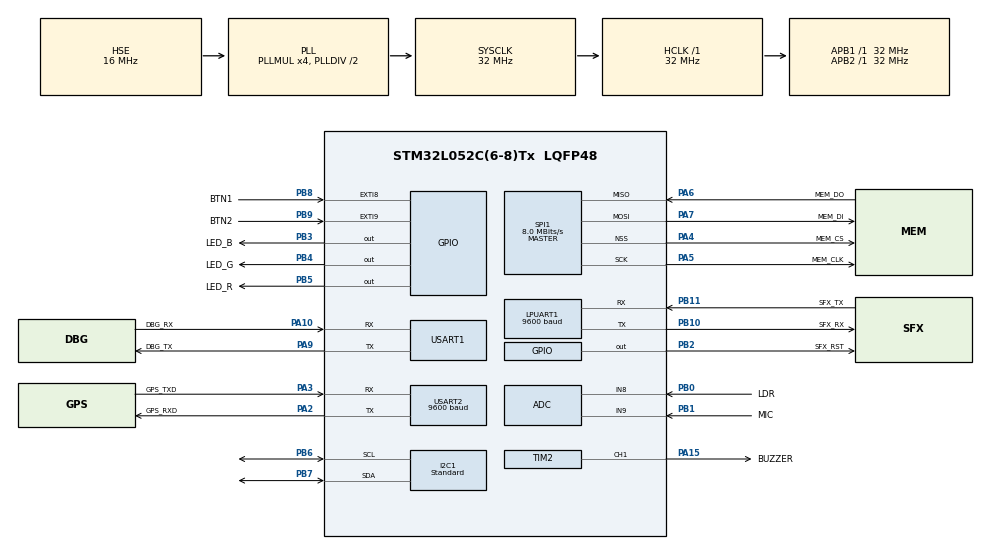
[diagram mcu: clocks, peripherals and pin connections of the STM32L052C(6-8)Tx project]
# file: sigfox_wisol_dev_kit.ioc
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ADC.ContinuousConvMode=ENABLE
ADC.DMAContinuousRequests=ENABLE
ADC.EOCSelection=ADC_EOC_SEQ_CONV
ADC.SamplingTime=ADC_SAMPLETIME_160CYCLES_5
Dma.ADC.0.Direction=DMA_PERIPH_TO_MEMORY
Dma.ADC.0.Instance=DMA1_Channel1
Dma.ADC.0.MemDataAlignment=DMA_MDATAALIGN_WORD
Dma.ADC.0.MemInc=DMA_MINC_ENABLE
Dma.ADC.0.Mode=DMA_CIRCULAR
Dma.ADC.0.PeriphDataAlignment=DMA_PDATAALIGN_HALFWORD
Dma.ADC.0.PeriphInc=DMA_PINC_DISABLE
Dma.ADC.0.Priority=DMA_PRIORITY_LOW
Dma.Request0=ADC
I2C1.I2C_Speed_Mode=I2C_Standard
I2C1.OwnAddress=108
I2C1.Timing=0x00707CBB
LPUART1.BaudRate=9600
LPUART1.WordLength=UART_WORDLENGTH_8B
Mcu.Family=STM32L0
Mcu.Name=STM32L052C(6-8)Tx
Mcu.Package=LQFP48
NVIC.ADC1_COMP_IRQn=true\:0\:0\:false\:false\:true\:true\:true
NVIC.DMA1_Channel1_IRQn=true\:0\:0\:false\:false\:true\:false\:true
NVIC.EXTI4_15_IRQn=true\:0\:0\:false\:false\:true\:true\:true
NVIC.RNG_LPUART1_IRQn=true\:0\:0\:false\:false\:true\:true\:true
NVIC.USART1_IRQn=true\:0\:0\:false\:false\:true\:true\:true
NVIC.USART2_IRQn=true\:0\:0\:false\:false\:true\:true\:true
PA10.GPIO_Label=DBG_RX
PA10.Mode=Asynchronous
PA10.Signal=USART1_RX
PA13.Mode=Serial_Wire
PA13.Signal=SYS_SWDIO
PA14.Mode=Serial_Wire
PA14.Signal=SYS_SWCLK
PA15.GPIO_Label=BUZZER
PA15.Signal=S_TIM2_CH1
PA2.GPIO_Label=GPS_RXD
PA2.Mode=Asynchronous
PA2.Signal=USART2_TX
PA3.GPIO_Label=GPS_TXD
PA3.Mode=Asynchronous
PA3.Signal=USART2_RX
PA4.GPIO_Label=MEM_CS
PA4.Mode=NSS_Signal_Hard_Output
PA4.Signal=SPI1_NSS
PA5.GPIO_Label=MEM_CLK
PA5.Mode=Full_Duplex_Master
PA5.Signal=SPI1_SCK
PA6.GPIO_Label=MEM_DO
PA6.Mode=Full_Duplex_Master
PA6.Signal=SPI1_MISO
PA7.GPIO_Label=MEM_DI
PA7.Mode=Full_Duplex_Master
PA7.Signal=SPI1_MOSI
PA9.GPIO_Label=DBG_TX
PA9.Mode=Asynchronous
PA9.Signal=USART1_TX
PB0.GPIO_Label=LDR
PB0.Mode=IN8
PB0.Signal=ADC_IN8
PB1.GPIO_Label=MIC
PB1.Mode=IN9
PB1.Signal=ADC_IN9
PB10.GPIO_Label=SFX_RX
PB10.Mode=Asynchronous
PB10.Signal=LPUART1_TX
PB11.GPIO_Label=SFX_TX
PB11.Mode=Asynchronous
PB11.Signal=LPUART1_RX
PB2.GPIO_Label=SFX_RST
PB2.GPIO_PuPd=GPIO_PULLUP
PB2.Signal=GPIO_Output
PB3.GPIO_Label=LED_B
PB3.GPIO_Speed=GPIO_SPEED_FREQ_MEDIUM
PB3.Signal=GPIO_Output
PB4.GPIO_Label=LED_G
PB4.GPIO_Speed=GPIO_SPEED_FREQ_MEDIUM
PB4.Signal=GPIO_Output
PB5.GPIO_Label=LED_R
PB5.GPIO_Speed=GPIO_SPEED_FREQ_MEDIUM
PB5.Signal=GPIO_Output
PB6.Mode=I2C
PB6.Signal=I2C1_SCL
PB7.Mode=I2C
PB7.Signal=I2C1_SDA
PB8.GPIO_Label=BTN1
PB8.GPIO_ModeDefaultEXTI=GPIO_MODE_IT_FALLING
PB8.GPIO_PuPd=GPIO_NOPULL
PB8.Signal=GPXTI8
PB9.GPIO_Label=BTN2
PB9.GPIO_ModeDefaultEXTI=GPIO_MODE_IT_FALLING
PB9.GPIO_PuPd=GPIO_NOPULL
PB9.Signal=GPXTI9
PH0-OSC_IN.Mode=HSE-External-Oscillator
PH0-OSC_IN.Signal=RCC_OSC_IN
PH1-OSC_OUT.Mode=HSE-External-Oscillator
PH1-OSC_OUT.Signal=RCC_OSC_OUT
ProjectManager.HeapSize=0x200
ProjectManager.StackSize=0x400
ProjectManager.TargetToolchain=STM32CubeIDE
RCC.AHBFreq_Value=32000000
RCC.APB1Freq_Value=32000000
RCC.APB1TimFreq_Value=32000000
RCC.APB2Freq_Value=32000000
RCC.APB2TimFreq_Value=32000000
RCC.HCLKFreq_Value=32000000
RCC.HSE_VALUE=16000000
RCC.HSI16_VALUE=16000000
RCC.HSI48_VALUE=48000000
RCC.HSI_VALUE=16000000
RCC.LSE_VALUE=32768
RCC.MSI_VALUE=2097000
RCC.PLLMUL=RCC_PLLMUL_4
RCC.PLLSourceVirtual=RCC_PLLSOURCE_HSE
RCC.SYSCLKFreq_VALUE=32000000
RCC.SYSCLKSource=RCC_SYSCLKSOURCE_PLLCLK
RCC.VCOOutputFreq_Value=64000000
SH.S_TIM2_CH1.0=TIM2_CH1,PWM Generation1 CH1
SPI1.BaudRatePrescaler=SPI_BAUDRATEPRESCALER_4
SPI1.CalculateBaudRate=8.0 MBits/s
SPI1.Direction=SPI_DIRECTION_2LINES
SPI1.Mode=SPI_MODE_MASTER
SPI1.VirtualNSS=VM_NSSHARD
SPI1.VirtualType=VM_MASTER
TIM2.AutoReloadPreload=TIM_AUTORELOAD_PRELOAD_ENABLE
TIM2.Channel-PWM\ Generation1\ CH1=TIM_CHANNEL_1
TIM2.Period=200-1
TIM2.Prescaler=320-1
TIM2.Pulse-PWM\ Generation1\ CH1=0
USART1.VirtualMode-Asynchronous=VM_ASYNC
USART2.BaudRate=9600
USART2.VirtualMode-Asynchronous=VM_ASYNC
board=custom

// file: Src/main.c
/* USER CODE BEGIN Header */
/**
 ******************************************************************************
 * @file           : main.c
 * @brief          : Main program body
 ******************************************************************************
 * @attention
 *
 * <h2><center>&copy; Copyright (c) 2019 STMicroelectronics.
 * All rights reserved.</center></h2>
 *
 * This software component is licensed by ST under BSD 3-Clause license,
 * the "License"; You may not use this file except in compliance with the
 * License. You may obtain a copy of the License at:
 *                        opensource.org/licenses/BSD-3-Clause
 *
 ******************************************************************************
 */

/*
 * main.c
 *
 * Warefab Konnect STM32L0-SIGFOX Development Board
 *
 * Created on: Nov 8, 2019
 * Author: Muchiri John
 * (c) wwww.warefab.com
 *
 * This software component is licensed by warefab under BSD 3-Clause license,
 * the "License"; You may not use this file except in compliance with the
 * License. You may obtain a copy of the License at:
 *
 * opensource.org/licenses/BSD-3-Clause
 *
 */

#include <stdio.h>
#include <stdlib.h>
#include <math.h>
/* USER CODE END Header */

#include "main.h"
#include "adc.h"
#include "dma.h"
#include "i2c.h"
#include "usart.h"
#include "spi.h"
#include "tim.h"
#include "gpio.h"

/* USER CODE BEGIN Includes */
#include "utils.h"
#include "L70R.h"
#include "sht30x.h"
#include "LIS2DH12.h"
#include "sigfox.h"
#include "buzzer.h"
/* USER CODE END Includes */

/* USER CODE BEGIN PD */
#define  mic_sample_time 50
/* USER CODE END PD */

/* USER CODE BEGIN PV */
volatile uint16_t mic_output;
volatile uint16_t ldr_output;
uint32_t gps_tick_;
uint8_t gps_flag;
int32_t sigfox_tick_;
uint8_t sigfox_flag;
uint8_t sigfox_delay;
/* USER CODE END PV */

void SystemClock_Config(void);
/* USER CODE BEGIN PFP */
uint16_t getMicValue();
void sendSigfoxPacket();
/* USER CODE END PFP */

/* USER CODE BEGIN 0 */
enum {
	adc_buf_len = 8
};
uint32_t adc_data[adc_buf_len];
char buffer[126];
uint8_t state;
/* USER CODE END 0 */

int main(void) {
	/* USER CODE BEGIN 1 */
	gps_tick_ = 0;
	gps_flag = 0;
	sigfox_tick_ = 0;
	sigfox_flag = 0;
	sigfox_delay = 0;

	mic_output = 0;
	buf_cur_pos = 0;
	/* USER CODE END 1 */

	/* MCU Configuration--------------------------------------------------------*/

	/* Reset of all peripherals, Initializes the Flash interface and the Systick. */
	HAL_Init();

	/* Configure the system clock */
	SystemClock_Config();

	/* USER CODE BEGIN SysInit */
	l70_init();
	/* USER CODE END SysInit */

	/* Initialize all configured peripherals */
	MX_GPIO_Init();
	MX_LPUART1_UART_Init();
	MX_USART1_UART_Init();
	MX_USART2_UART_Init();
	MX_TIM2_Init();
	MX_DMA_Init();
	MX_ADC_Init();
	MX_I2C1_Init();
	MX_SPI1_Init();
	/* USER CODE BEGIN 2 */
	//set buzzer frequency, 200Hz
	setBuzzerFreq(200);
	//init sht30x temp&hum sensor
	sht30x_init(0x44);
	//init lis2dh12 3-axis sensor
	Lis2dh12_init(0x19);
	//set buzzer frequency, 400Hz
	HAL_Delay(500);
	setBuzzerFreq(400);
	//reset sigfox module
	resetSigfoxModule();
	//init l70R gps module, NO NMEA output
	l70_mode(1);
	//set buzzer frequency, 600Hz
	setBuzzerFreq(600);
	//print wisol info, ID/PAC
	getSigfoxPACID();
	//set buzzer frequency, 800Hz
	setBuzzerFreq(800);
	//adc start dma conversion
	HAL_ADC_Start_DMA(&hadc, adc_data, adc_buf_len);
	HAL_Delay(500);
	//stop buzzer
	stopBuzzer();
	/* USER CODE END 2 */

	/* Infinite loop */
	/* USER CODE BEGIN WHILE */
	while (1) {
		//pulse green led
		HAL_GPIO_WritePin(LED_G_GPIO_Port, LED_G_Pin, GPIO_PIN_SET);
		HAL_Delay(200);
		HAL_GPIO_WritePin(LED_G_GPIO_Port, LED_G_Pin, GPIO_PIN_RESET);
		//send packets to sigfox cloud
		sendSigfoxPacket();
		/* USER CODE END WHILE */

	}
}

void SystemClock_Config(void) {
	RCC_OscInitTypeDef RCC_OscInitStruct = { 0 };
	RCC_ClkInitTypeDef RCC_ClkInitStruct = { 0 };
	RCC_PeriphCLKInitTypeDef PeriphClkInit = { 0 };

	/** Configure the main internal regulator output voltage
	 */
	__HAL_PWR_VOLTAGESCALING_CONFIG(PWR_REGULATOR_VOLTAGE_SCALE1);
	/** Initializes the CPU, AHB and APB busses clocks
	 */
	RCC_OscInitStruct.OscillatorType = RCC_OSCILLATORTYPE_HSE;
	RCC_OscInitStruct.HSEState = RCC_HSE_ON;
	RCC_OscInitStruct.PLL.PLLState = RCC_PLL_ON;
	RCC_OscInitStruct.PLL.PLLSource = RCC_PLLSOURCE_HSE;
	RCC_OscInitStruct.PLL.PLLMUL = RCC_PLLMUL_4;
	RCC_OscInitStruct.PLL.PLLDIV = RCC_PLLDIV_2;
	if (HAL_RCC_OscConfig(&RCC_OscInitStruct) != HAL_OK) {
		Error_Handler();
	}
	/** Initializes the CPU, AHB and APB busses clocks
	 */
	RCC_ClkInitStruct.ClockType = RCC_CLOCKTYPE_HCLK | RCC_CLOCKTYPE_SYSCLK
			| RCC_CLOCKTYPE_PCLK1 | RCC_CLOCKTYPE_PCLK2;
	RCC_ClkInitStruct.SYSCLKSource = RCC_SYSCLKSOURCE_PLLCLK;
	RCC_ClkInitStruct.AHBCLKDivider = RCC_SYSCLK_DIV1;
	RCC_ClkInitStruct.APB1CLKDivider = RCC_HCLK_DIV1;
	RCC_ClkInitStruct.APB2CLKDivider = RCC_HCLK_DIV1;

	if (HAL_RCC_ClockConfig(&RCC_ClkInitStruct, FLASH_LATENCY_1) != HAL_OK) {
		Error_Handler();
	}
	PeriphClkInit.PeriphClockSelection = RCC_PERIPHCLK_USART1
			| RCC_PERIPHCLK_USART2 | RCC_PERIPHCLK_LPUART1 | RCC_PERIPHCLK_I2C1;
	PeriphClkInit.Usart1ClockSelection = RCC_USART1CLKSOURCE_PCLK2;
	PeriphClkInit.Usart2ClockSelection = RCC_USART2CLKSOURCE_PCLK1;
	PeriphClkInit.Lpuart1ClockSelection = RCC_LPUART1CLKSOURCE_PCLK1;
	PeriphClkInit.I2c1ClockSelection = RCC_I2C1CLKSOURCE_PCLK1;
	if (HAL_RCCEx_PeriphCLKConfig(&PeriphClkInit) != HAL_OK) {
		Error_Handler();
	}
}

/* USER CODE BEGIN 4 */

uint16_t getMicValue() {
	uint16_t mic_max = 0;
	uint16_t mic_min = 4095;
	uint8_t x = 0;
	uint16_t mic_ptp;

	for (; x < 36; x++) {
		uint32_t p_time = HAL_GetTick();
		mic_ptp = 0;
		while ((HAL_GetTick() - p_time) < mic_sample_time) {
			if (mic_output < 4095) {
				if (mic_output > mic_max) {
					mic_max = mic_output;
				} else if (mic_output < mic_min) {
					mic_min = mic_output;
				}
			}
		}
		mic_ptp = mic_max - mic_min;
	}
	return mic_ptp;
}

void HAL_GPIO_EXTI_Callback(uint16_t GPIO_Pin) {
	if (GPIO_Pin == BTN1_Pin) {
		if ((HAL_GetTick() - gps_tick_) > 2000) {
			(gps_flag == 0) ? (gps_flag = 1) : (gps_flag = 0);
			HAL_GPIO_WritePin(LED_R_GPIO_Port, LED_R_Pin, gps_flag);
			//l70_standby(gps_flag);
			l70_mode(!gps_flag);
			gps_tick_ = HAL_GetTick();
		}
	} else if (GPIO_Pin == BTN2_Pin) {
		if ((HAL_GetTick() - gps_tick_) > 2000) {
			(sigfox_flag == 0) ? (sigfox_flag = 1) : (sigfox_flag = 0);
			HAL_GPIO_WritePin(LED_B_GPIO_Port, LED_B_Pin, sigfox_flag);
			sigfox_delay = 0;
			gps_tick_ = HAL_GetTick();
		}
	}
}

void HAL_ADC_ConvCpltCallback(ADC_HandleTypeDef *hadc) {
	uint8_t x;
	uint32_t adc_m = 0;
	uint32_t adc_l = 0;
	for (x = 0; x < adc_buf_len; x++) {
		adc_l += adc_data[x];
		adc_m += adc_data[x + 1];
		x++;
	}
	ldr_output = (uint16_t) (adc_l / (adc_buf_len / 2));
	mic_output = (uint16_t) (adc_m / (adc_buf_len / 2));
}

/*void HAL_TIM_PeriodElapsedCallback(TIM_HandleTypeDef *htim) {
 if (htim->Instance == TIM2) {
 HAL_GPIO_TogglePin(BUZZER_GPIO_Port, BUZZER_Pin);
 }
 }*/

void sendSigfoxPacket() {
	//char packets[24];
	uint8_t flags = 0;
	//date/time
	char time[12] = { 0 };
	char date[12] = { 0 };
	char gps_ns, gps_ew;
	//mems mic, noise = 1, silent = 0
	uint16_t mic_val = getMicValue();
	uint8_t mic_status;
	//Ambient sensor, light = 1, dark = 0
	uint8_t ldr_status;
	//sht30 temperature and humidity
	sht30x_get();
	//lis2dh12 acc x, y, z values
	state = Lis2dh12_whoIAm();
	if (state == 0x33) {
		Lis2dh12_getXYZ();
	}

	//send readable data to debug port else to wisol module
	if (sigfox_flag == 0) {
		dateTimeFormat(time, l70->time, ':');
		dateTimeFormat(date, l70->date, '-');
		gps_ns = (l70->lat_ns == 0) ? ' ' : l70->lat_ns;
		gps_ew = (l70->lng_ew == 0) ? ' ' : l70->lng_ew;
		//mic and ldr
		sprintf(buffer, "\r\nMIC: %04d, LDR : %04d\r\n", mic_val, ldr_output);
		usart_puts(&huart1, buffer);

		//SHT30
		sprintf(buffer, "SHT30 -> C : %d, F : %d, H : %d\r\n", sht30x->cTemp,
				sht30x->fTemp, sht30x->humidity);
		usart_puts(&huart1, buffer);

		//LIS2DH12
		sprintf(buffer, "LIS2DH12 -> X: %03d,  Y: %03d, Z: %0d\r\n",
				Lis2dh12->x, Lis2dh12->y, Lis2dh12->z);
		usart_puts(&huart1, buffer);

		//L70R
		sprintf(buffer,
				"L70R -> TIME: %s,  LAT: %.5f%c, LNG : %.5f%c, SPEED : %d, DATE : %s\r\n",
				time, (float) (l70->lat / 100000.0), gps_ns,
				(float) (l70->lng / 100000.0), gps_ew, l70->speed, date);
		usart_puts(&huart1, buffer);
	} else {
		//check mic, if noise/not
		mic_status = (mic_val > 8) ? 1 : 0;
		if (mic_status == 1) { //bit 0
			flags |= (uint8_t) (1 << 0);
		}
		//light threshold, on/off
		ldr_status = (ldr_output >= 255) ? 1 : 0;
		if (ldr_status == 1) { //bit 1
			flags |= (uint8_t) (1 << 1);
		}
		//check if acc x axis is negative
		if (Lis2dh12->x < 0) { //bit 2
			flags |= (uint8_t) (1 << 2);
		}
		//check if acc y axis is negative
		if (Lis2dh12->y < 0) { //bit 3
			flags |= (uint8_t) (1 << 3);
		}
		//gps standby mode on/off
		if (gps_flag == 1) { //bit 4
			flags |= (uint8_t) (1 << 4);
		}
		//speed threshold
		if (l70->speed >= 80) { //bit 5
			flags |= (uint8_t) (1 << 5);
		}
		//latitude pos, if N=0, S=1
		if (l70->lat_ns == 'S') { //bit 5
			flags |= (uint8_t) (1 << 6);
		}
		//longitude pos, if E=0, W=1
		if (l70->lng_ew == 'W') { //bit 5
			flags |= (uint8_t) (1 << 7);
		}

		//format bytes to hex
		sprintf(buffer, "%06lX%06lX%02X%02X%02X%02X%02X%02X", l70->lat,
				l70->lng, (uint8_t) adcToPercent(ldr_output),
				(uint8_t) abs(Lis2dh12->x), (uint8_t) abs(Lis2dh12->y),
				sht30x->cTemp, sht30x->humidity, flags);
		//send to debug port
		usart_puts(&huart1, buffer);
		usart_puts(&huart1, (char*) "\r\n");
		//send to sigfox cloud, 36 sec delay
		if (sigfox_delay >= 18) {
			sendSigfoxMessage((char*) buffer);
			sigfox_delay = 0;
		} else {
			sigfox_delay++;
		}
	}
}

/* USER CODE END 4 */

void Error_Handler(void) {
}

/************************ (C) COPYRIGHT STMicroelectronics *****END OF FILE****/
